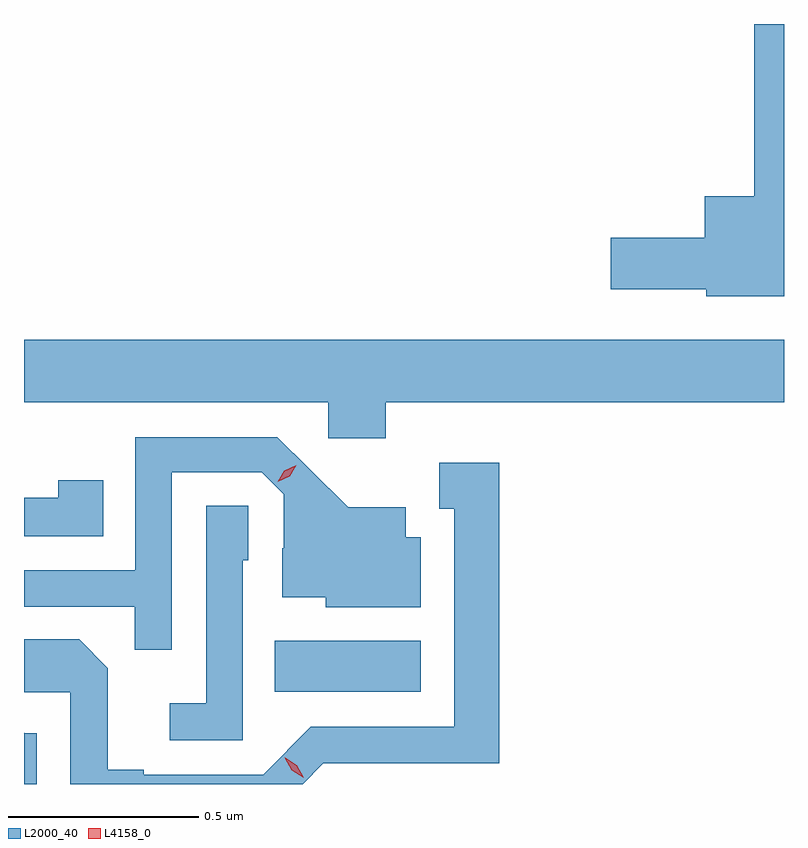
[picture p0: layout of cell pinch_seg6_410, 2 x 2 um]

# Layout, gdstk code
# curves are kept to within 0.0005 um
import gdstk
lib = gdstk.Library(unit=1e-6, precision=1e-09)
def R(c, l, rs):  # rectangles x0, y0, x1, y1
    for r in rs: c.add(gdstk.rectangle(r[:2], r[2:], *l))
def P(c, l, *ps):  # polygons
    for p in ps: c.add(gdstk.Polygon(p, *l))
L2000_40 = (2000, 40)
L4158_0 = (4158, 0)

pinch_seg6_410 = lib.new_cell('pinch_seg6_410')
R(pinch_seg6_410, L2000_40, [(658.402,929.258,658.786,929.392)])
P(pinch_seg6_410, L2000_40, [(659.742,931.015),(659.664,931.015),(659.664,930.562),(659.534,930.562),(659.534,930.452),(659.286,930.452),(659.286,930.317),(659.538,930.317),(659.538,930.299),(659.742,930.299)],
  [(658.694,930.02),(659.742,930.02),(659.742,930.184),(657.742,930.184),(657.742,930.02),(658.542,930.02),(658.542,929.925),(658.694,929.925)],
  [(658.131,929.835),(658.368,929.835),(658.425,929.778),(658.425,929.636),(658.421,929.636),(658.421,929.507),(658.536,929.507),(658.536,929.48),(658.786,929.48),(658.786,929.665),(658.747,929.665),(658.747,929.743),(658.595,929.743),(658.408,929.928),(658.035,929.928),(658.035,929.577),(657.742,929.577),(657.742,929.481),(658.033,929.481),(658.033,929.368),(658.131,929.368)],
  [(658.53,929.07),(658.752,929.07),(658.752,929.069),(658.993,929.069),(658.993,929.86),(658.835,929.86),(658.835,929.739),(658.874,929.739),(658.874,929.166),(658.497,929.166),(658.371,929.04),(658.057,929.04),(658.057,929.053),(657.963,929.053),(657.963,929.32),(657.887,929.396),(657.742,929.396),(657.742,929.256),(657.864,929.256),(657.864,929.015),(658.475,929.015)],
  [(657.95,929.815),(657.832,929.815),(657.832,929.768),(657.742,929.768),(657.742,929.667),(657.95,929.667)],
  [(658.317,929.604),(658.332,929.604),(658.332,929.747),(658.221,929.747),(658.221,929.227),(658.125,929.227),(658.125,929.13),(658.317,929.13)],
  [(657.775,929.148),(657.744,929.148),(657.742,929.15),(657.742,929.015),(657.775,929.015)])
P(pinch_seg6_410, L4158_0, [(658.478,929.032),(658.446,929.051),(658.428,929.084),(658.428,929.084),(658.429,929.084),(658.46,929.065),(658.478,929.032),(658.478,929.032)],
  [(658.41,929.81),(658.41,929.81),(658.427,929.839),(658.458,929.854),(658.458,929.854),(658.458,929.854),(658.441,929.825),(658.41,929.81)])

lib.write_gds('pinch_seg6_410.gds')
